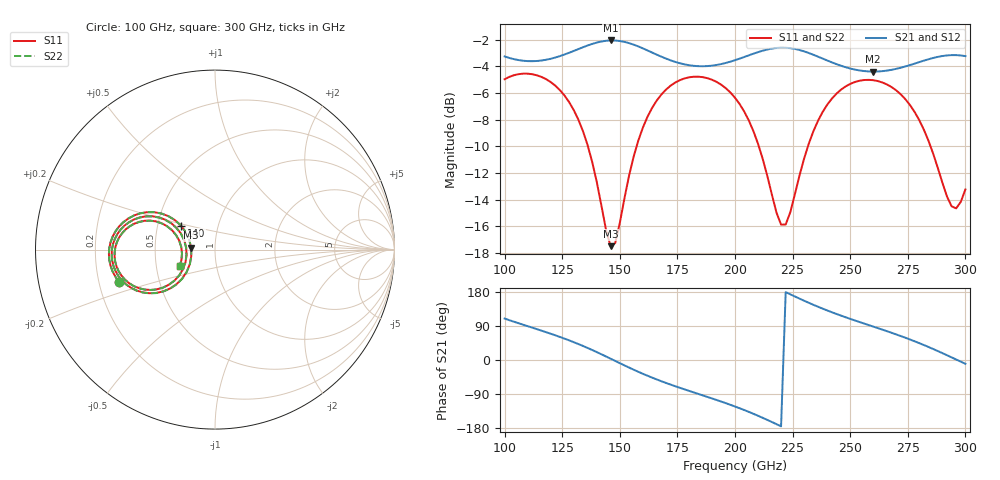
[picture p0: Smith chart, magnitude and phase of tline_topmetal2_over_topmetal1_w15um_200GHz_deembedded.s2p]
! Created with skrf 2.2.0 (http://scikit-rf.org).
# GHz S DB R 50.0
! Port[1] = P1
! Port[2] = P2
!freq dBS11 angS11 dBS21 angS21 dBS12 angS12 dBS22 angS22
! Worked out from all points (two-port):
!   101 points, 100 GHz to 300 GHz, reference 50 ohm
!   highest |S21| = -2.07 dB at 146 GHz (marker M1); lowest = -4.4 dB at 260 GHz (marker M2)
!   |S21| within 3 dB of the highest: start of sweep to end of sweep
!   lowest |S11| = -17.5 dB at 146 GHz (marker M3), VSWR 1.31, Z = 38.2 + j0.79 ohm
!   |S11| at or under -10 dB: 136.2 GHz to 157.3 GHz (21.15 GHz wide, 14.4 % of centre); 210.3 GHz to 231.7 GHz (21.34 GHz wide, 9.65 % of centre); 284.9 GHz to end of sweep
!   |S22| runs from -17.5 to -4.6 dB; largest |S21 - S12| = 1.2e-13
!   S11 on the Smith chart (normalised r, x): 100 GHz: 0.29, -0.15; 140 GHz: 0.66, +0.19; 300 GHz: 0.66, -0.13
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100  -4.98 -161.5  -3.27 109.3  -3.27 109.3  -4.98 -161.4
116  -4.80 172.9  -3.57 77.5  -3.57 77.5  -4.80 172.9
126  -6.20 157.2  -3.12 56.4  -3.12 56.4  -6.19 157.2
134  -8.86 146.1  -2.58 37.1  -2.58 37.1  -8.86 146.1
140  -12.67 144.8  -2.23 20.9  -2.23 20.9  -12.68 144.7
146  -17.48 175.6  -2.07 3.5  -2.07 3.5  -17.51 175.6
148  -17.25 -164.5  -2.08 -2.5  -2.08 -2.5  -17.29 -164.5
158  -9.59 -139.1  -2.52 -31.0  -2.52 -31.0  -9.59 -139.0
168  -6.13 -152.6  -3.28 -55.9  -3.28 -55.9  -6.13 -152.5
184  -4.78 -177.1  -4.00 -89.4  -4.00 -89.4  -4.78 -177.0
200  -6.36 159.5  -3.55 -122.7  -3.55 -122.7  -6.36 159.6
210  -9.82 149.0  -2.95 -147.2  -2.95 -147.2  -9.80 149.2
220  -15.87 175.9  -2.61 -175.1  -2.61 -175.1  -15.83 176.1
224  -14.94 -156.6  -2.65 173.3  -2.65 173.3  -14.91 -156.7
234  -8.88 -143.9  -3.14 145.7  -3.14 145.7  -8.88 -143.9
246  -5.76 -158.9  -3.96 117.2  -3.96 117.2  -5.76 -158.9
260  -5.05 -178.8  -4.40 88.2  -4.40 88.2  -5.05 -178.7
268  -5.57 170.2  -4.27 71.7  -4.27 71.7  -5.57 170.3
276  -6.92 160.0  -3.91 54.0  -3.91 54.0  -6.92 160.1
284  -9.60 153.7  -3.48 34.3  -3.48 34.3  -9.59 153.8
294  -14.49 175.6  -3.17 7.0  -3.17 7.0  -14.48 175.7
300  -13.24 -154.8  -3.24 -10.0  -3.24 -10.0  -13.22 -154.7
